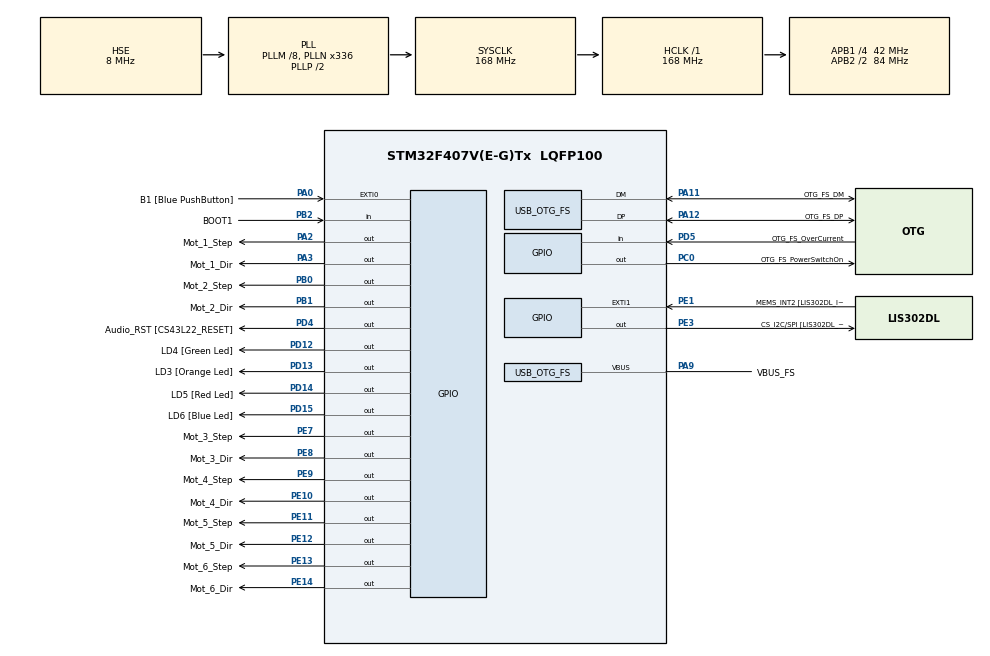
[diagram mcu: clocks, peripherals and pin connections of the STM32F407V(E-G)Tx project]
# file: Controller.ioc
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Mcu.Family=STM32F4
Mcu.Name=STM32F407V(E-G)Tx
Mcu.Package=LQFP100
NVIC.OTG_FS_IRQn=true\:0\:0\:false\:false\:true\:true
NVIC.PriorityGroup=NVIC_PRIORITYGROUP_4
NVIC.TIM6_DAC_IRQn=true\:0\:0\:false\:false\:true\:true
PA0-WKUP.GPIO_Label=B1 [Blue PushButton]
PA0-WKUP.GPIO_ModeDefaultEXTI=GPIO_MODE_EVT_RISING
PA0-WKUP.GPIO_PuPd=GPIO_NOPULL
PA0-WKUP.Signal=GPXTI0
PA10.GPIO_Label=OTG_FS_ID
PA10.GPIO_Mode=GPIO_MODE_AF_PP
PA10.GPIO_PuPd=GPIO_NOPULL
PA10.GPIO_Speed=GPIO_SPEED_FREQ_LOW
PA10.Signal=USB_OTG_FS_ID
PA11.GPIO_Label=OTG_FS_DM
PA11.GPIO_Mode=GPIO_MODE_AF_PP
PA11.GPIO_PuPd=GPIO_NOPULL
PA11.GPIO_Speed=GPIO_SPEED_FREQ_LOW
PA11.Mode=Device_Only
PA11.Signal=USB_OTG_FS_DM
PA12.GPIO_Label=OTG_FS_DP
PA12.GPIO_Mode=GPIO_MODE_AF_PP
PA12.GPIO_PuPd=GPIO_NOPULL
PA12.GPIO_Speed=GPIO_SPEED_FREQ_LOW
PA12.Mode=Device_Only
PA12.Signal=USB_OTG_FS_DP
PA13.GPIO_Label=SWDIO
PA13.Mode=Serial_Wire
PA13.Signal=SYS_JTMS-SWDIO
PA14.GPIO_Label=SWCLK
PA14.Mode=Serial_Wire
PA14.Signal=SYS_JTCK-SWCLK
PA2.GPIO_Label=Mot_1_Step
PA2.Signal=GPIO_Output
PA3.GPIO_Label=Mot_1_Dir
PA3.Signal=GPIO_Output
PA4.GPIO_Label=I2S3_WS [CS43L22_LRCK]
PA4.GPIO_Mode=GPIO_MODE_AF_PP
PA4.GPIO_PuPd=GPIO_NOPULL
PA4.GPIO_Speed=GPIO_SPEED_FREQ_LOW
PA4.Signal=I2S3_WS
PA5.GPIO_Label=SPI1_SCK [LIS302DL_SCL/SPC]
PA5.GPIO_Mode=GPIO_MODE_AF_PP
PA5.GPIO_PuPd=GPIO_NOPULL
PA5.GPIO_Speed=GPIO_SPEED_FREQ_LOW
PA5.Signal=SPI1_SCK
PA6.GPIO_Label=SPI1_MISO [LIS302DL_SDO]
PA6.GPIO_Mode=GPIO_MODE_AF_PP
PA6.GPIO_PuPd=GPIO_NOPULL
PA6.GPIO_Speed=GPIO_SPEED_FREQ_LOW
PA6.Signal=SPI1_MISO
PA7.GPIO_Label=SPI1_MOSI [LIS302DL_SDA/SDI/SDO]
PA7.GPIO_Mode=GPIO_MODE_AF_PP
PA7.GPIO_PuPd=GPIO_NOPULL
PA7.GPIO_Speed=GPIO_SPEED_FREQ_LOW
PA7.Signal=SPI1_MOSI
PA9.GPIO_Label=VBUS_FS
PA9.GPIO_Mode=GPIO_MODE_INPUT
PA9.GPIO_PuPd=GPIO_NOPULL
PA9.Mode=Activate_VBUS
PA9.Signal=USB_OTG_FS_VBUS
PB0.GPIO_Label=Mot_2_Step
PB0.Signal=GPIO_Output
PB1.GPIO_Label=Mot_2_Dir
PB1.Signal=GPIO_Output
PB10.GPIO_Label=CLK_IN [MP45DT02_CLK]
PB10.GPIO_Mode=GPIO_MODE_AF_PP
PB10.GPIO_PuPd=GPIO_NOPULL
PB10.GPIO_Speed=GPIO_SPEED_FREQ_LOW
PB10.Signal=I2S2_CK
PB2.GPIO_Label=BOOT1
PB2.GPIO_Mode=GPIO_MODE_INPUT
PB2.GPIO_PuPd=GPIO_NOPULL
PB2.Signal=GPIO_Input
PB3.GPIO_Label=SWO
PB3.Signal=SYS_JTDO-SWO
PB6.GPIO_Label=Audio_SCL [CS43L22_SCL]
PB6.GPIO_Mode=GPIO_MODE_AF_OD
PB6.GPIO_PuPd=GPIO_NOPULL
PB6.GPIO_Speed=GPIO_SPEED_FREQ_LOW
PB6.Signal=I2C1_SCL
PB9.GPIO_Label=Audio_SDA [CS43L22_SDA]
PB9.GPIO_Mode=GPIO_MODE_AF_OD
PB9.GPIO_PuPd=GPIO_NOPULL
PB9.GPIO_Speed=GPIO_SPEED_FREQ_LOW
PB9.Signal=I2C1_SDA
PC0.GPIO_Label=OTG_FS_PowerSwitchOn
PC0.GPIO_PuPd=GPIO_NOPULL
PC0.GPIO_Speed=GPIO_SPEED_FREQ_LOW
PC0.PinState=GPIO_PIN_SET
PC0.Signal=GPIO_Output
PC10.GPIO_Label=I2S3_SCK [CS43L22_SCLK]
PC10.GPIO_Mode=GPIO_MODE_AF_PP
PC10.GPIO_PuPd=GPIO_NOPULL
PC10.GPIO_Speed=GPIO_SPEED_FREQ_LOW
PC10.Signal=I2S3_CK
PC12.GPIO_Label=I2S3_SD [CS43L22_SDIN]
PC12.GPIO_Mode=GPIO_MODE_AF_PP
PC12.GPIO_PuPd=GPIO_NOPULL
PC12.GPIO_Speed=GPIO_SPEED_FREQ_LOW
PC12.Signal=I2S3_SD
PC14-OSC32_IN.GPIO_Label=PC14-OSC32_IN
PC14-OSC32_IN.Mode=LSE-External-Oscillator
PC14-OSC32_IN.Signal=RCC_OSC32_IN
PC15-OSC32_OUT.GPIO_Label=PC15-OSC32_OUT
PC15-OSC32_OUT.Mode=LSE-External-Oscillator
PC15-OSC32_OUT.Signal=RCC_OSC32_OUT
PC3.GPIO_Label=PDM_OUT [MP45DT02_DOUT]
PC3.GPIO_Mode=GPIO_MODE_AF_PP
PC3.GPIO_PuPd=GPIO_NOPULL
PC3.GPIO_Speed=GPIO_SPEED_FREQ_LOW
PC3.Signal=I2S2_SD
PC7.GPIO_Label=I2S3_MCK [CS43L22_MCLK]
PC7.GPIO_Mode=GPIO_MODE_AF_PP
PC7.GPIO_PuPd=GPIO_NOPULL
PC7.GPIO_Speed=GPIO_SPEED_FREQ_LOW
PC7.Signal=I2S3_MCK
PD12.GPIO_Label=LD4 [Green Led]
PD12.GPIO_PuPd=GPIO_NOPULL
PD12.GPIO_Speed=GPIO_SPEED_FREQ_LOW
PD12.Signal=GPIO_Output
PD13.GPIO_Label=LD3 [Orange Led]
PD13.GPIO_PuPd=GPIO_NOPULL
PD13.GPIO_Speed=GPIO_SPEED_FREQ_LOW
PD13.Signal=GPIO_Output
PD14.GPIO_Label=LD5 [Red Led]
PD14.GPIO_PuPd=GPIO_NOPULL
PD14.GPIO_Speed=GPIO_SPEED_FREQ_LOW
PD14.Signal=GPIO_Output
PD15.GPIO_Label=LD6 [Blue Led]
PD15.GPIO_PuPd=GPIO_NOPULL
PD15.GPIO_Speed=GPIO_SPEED_FREQ_LOW
PD15.Signal=GPIO_Output
PD4.GPIO_Label=Audio_RST [CS43L22_RESET]
PD4.GPIO_PuPd=GPIO_NOPULL
PD4.GPIO_Speed=GPIO_SPEED_FREQ_LOW
PD4.Signal=GPIO_Output
PD5.GPIO_Label=OTG_FS_OverCurrent
PD5.GPIO_Mode=GPIO_MODE_INPUT
PD5.GPIO_PuPd=GPIO_NOPULL
PD5.Signal=GPIO_Input
PE1.GPIO_Label=MEMS_INT2 [LIS302DL_INT2]
PE1.GPIO_ModeDefaultEXTI=GPIO_MODE_EVT_RISING
PE1.GPIO_PuPd=GPIO_NOPULL
PE1.Signal=GPXTI1
PE10.GPIO_Label=Mot_4_Dir
PE10.Signal=GPIO_Output
PE11.GPIO_Label=Mot_5_Step
PE11.Signal=GPIO_Output
PE12.GPIO_Label=Mot_5_Dir
PE12.Signal=GPIO_Output
PE13.GPIO_Label=Mot_6_Step
PE13.Signal=GPIO_Output
PE14.GPIO_Label=Mot_6_Dir
PE14.Signal=GPIO_Output
PE3.GPIO_Label=CS_I2C/SPI [LIS302DL_CS_I2C/SPI]
PE3.GPIO_PuPd=GPIO_NOPULL
PE3.GPIO_Speed=GPIO_SPEED_FREQ_LOW
PE3.Signal=GPIO_Output
PE7.GPIO_Label=Mot_3_Step
PE7.Signal=GPIO_Output
PE8.GPIO_Label=Mot_3_Dir
PE8.Signal=GPIO_Output
PE9.GPIO_Label=Mot_4_Step
PE9.Signal=GPIO_Output
PH0-OSC_IN.GPIO_Label=PH0-OSC_IN
PH0-OSC_IN.Mode=HSE-External-Oscillator
PH0-OSC_IN.Signal=RCC_OSC_IN
PH1-OSC_OUT.GPIO_Label=PH1-OSC_OUT
PH1-OSC_OUT.Mode=HSE-External-Oscillator
PH1-OSC_OUT.Signal=RCC_OSC_OUT
ProjectManager.HeapSize=0x800
ProjectManager.StackSize=0x1600
ProjectManager.TargetToolchain=TrueSTUDIO
RCC.48MHZClocksFreq_Value=48000000
RCC.AHBFreq_Value=168000000
RCC.APB1CLKDivider=RCC_HCLK_DIV4
RCC.APB1Freq_Value=42000000
RCC.APB1TimFreq_Value=84000000
RCC.APB2CLKDivider=RCC_HCLK_DIV2
RCC.APB2Freq_Value=84000000
RCC.APB2TimFreq_Value=168000000
RCC.CortexFreq_Value=168000000
RCC.HCLKFreq_Value=168000000
RCC.HSE_VALUE=8000000
RCC.HSI_VALUE=16000000
RCC.PLLM=8
RCC.PLLN=336
RCC.PLLQ=7
RCC.SYSCLKFreq_VALUE=168000000
RCC.SYSCLKSource=RCC_SYSCLKSOURCE_PLLCLK
RCC.VCOOutputFreq_Value=336000000
TIM6.Period=10
TIM6.Prescaler=84-1
TIM6.TIM_MasterOutputTrigger=TIM_TRGO_RESET
USB_DEVICE.CLASS_NAME_FS=CDC
USB_DEVICE.VirtualMode-CDC_FS=Cdc
USB_DEVICE.VirtualModeFS=Cdc_FS
USB_OTG_FS.VirtualMode=Device_Only
VP_TIM6_VS_ClockSourceINT.Mode=Enable_Timer
VP_USB_DEVICE_VS_USB_DEVICE_CDC_FS.Mode=CDC_FS
board=STM32F4DISCOVERY

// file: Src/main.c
/**
 * Stewart Platform Microcontroller Code
 * Author: Liam Clark
 * 21 October, 2018
 */

/**
  * This notice applies to any and all portions of this file
  * that are not between comment pairs USER CODE BEGIN and
  * USER CODE END. Other portions of this file, whether
  * inserted by the user or by software development tools
  * are owned by their respective copyright owners.
  *
  * Copyright (c) 2018 STMicroelectronics International N.V.
  * All rights reserved.
  *
  * Redistribution and use in source and binary forms, with or without
  * modification, are permitted, provided that the following conditions are met:
  *
  * 1. Redistribution of source code must retain the above copyright notice,
  *    this list of conditions and the following disclaimer.
  * 2. Redistributions in binary form must reproduce the above copyright notice,
  *    this list of conditions and the following disclaimer in the documentation
  *    and/or other materials provided with the distribution.
  * 3. Neither the name of STMicroelectronics nor the names of other
  *    contributors to this software may be used to endorse or promote products
  *    derived from this software without specific written permission.
  * 4. This software, including modifications and/or derivative works of this
  *    software, must execute solely and exclusively on microcontroller or
  *    microprocessor devices manufactured by or for STMicroelectronics.
  * 5. Redistribution and use of this software other than as permitted under
  *    this license is void and will automatically terminate your rights under
  *    this license.
  *
  * THIS SOFTWARE IS PROVIDED BY STMICROELECTRONICS AND CONTRIBUTORS "AS IS"
  * AND ANY EXPRESS, IMPLIED OR STATUTORY WARRANTIES, INCLUDING, BUT NOT
  * LIMITED TO, THE IMPLIED WARRANTIES OF MERCHANTABILITY, FITNESS FOR A
  * PARTICULAR PURPOSE AND NON-INFRINGEMENT OF THIRD PARTY INTELLECTUAL PROPERTY
  * RIGHTS ARE DISCLAIMED TO THE FULLEST EXTENT PERMITTED BY LAW. IN NO EVENT
  * SHALL STMICROELECTRONICS OR CONTRIBUTORS BE LIABLE FOR ANY DIRECT, INDIRECT,
  * INCIDENTAL, SPECIAL, EXEMPLARY, OR CONSEQUENTIAL DAMAGES (INCLUDING, BUT NOT
  * LIMITED TO, PROCUREMENT OF SUBSTITUTE GOODS OR SERVICES; LOSS OF USE, DATA,
  * OR PROFITS; OR BUSINESS INTERRUPTION) HOWEVER CAUSED AND ON ANY THEORY OF
  * LIABILITY, WHETHER IN CONTRACT, STRICT LIABILITY, OR TORT (INCLUDING
  * NEGLIGENCE OR OTHERWISE) ARISING IN ANY WAY OUT OF THE USE OF THIS SOFTWARE,
  * EVEN IF ADVISED OF THE POSSIBILITY OF SUCH DAMAGE.
  *
  ******************************************************************************
  */

#include "main.h"
#include "stm32f4xx_hal.h"
#include "usb_device.h"

/* USER CODE BEGIN Includes */
#include "usbd_cdc_if.h"
#include <string.h>
#include <math.h>
#include <stdio.h>
/* USER CODE END Includes */

TIM_HandleTypeDef htim6;

/* USER CODE BEGIN PV */
/* Private variables ---------------------------------------------------------*/
const char *delim = " ";
uint32_t movPeriod = 1;
uint32_t currMov = 1;

/* USER CODE END PV */

void SystemClock_Config(void);
static void MX_GPIO_Init(void);
static void MX_TIM6_Init(void);

/* USER CODE BEGIN PFP */
/* Private function prototypes -----------------------------------------------*/
void Step(uint8_t mot, uint8_t dir);
/* USER CODE END PFP */

/* USER CODE BEGIN 0 */
//Define Types
typedef struct Motor {
	uint16_t dirPin;
	GPIO_TypeDef * dirPinPort;
	uint16_t stepPin;
	GPIO_TypeDef * stepPinPort;
	int32_t pos;
} Motor;

typedef struct MotorController {
	uint32_t deltaPos;
	GPIO_PinState direction;
	int32_t accErr;
	int32_t targetPos;
} MotorController;

#define MOT_DIR_POS GPIO_PIN_SET
#define MOT_DIR_NEG GPIO_PIN_RESET

//Allocate memory for Motor and MotorController Structs
Motor motors[6];
MotorController controllers[6];

/* USER CODE END 0 */

int main(void)
{
  /* USER CODE BEGIN 1 */
	//Initialise all motor structs
	motors[0].dirPin = Mot_1_Dir_Pin;
	motors[0].dirPinPort = Mot_1_Dir_GPIO_Port;
	motors[0].stepPin = Mot_1_Step_Pin;
	motors[0].stepPinPort = Mot_1_Step_GPIO_Port;
	motors[0].pos = 0;

	motors[1].dirPin = Mot_2_Dir_Pin;
	motors[1].dirPinPort = Mot_2_Dir_GPIO_Port;
	motors[1].stepPin = Mot_2_Step_Pin;
	motors[1].stepPinPort = Mot_2_Step_GPIO_Port;
	motors[1].pos = 0;

	motors[2].dirPin = Mot_3_Dir_Pin;
	motors[2].dirPinPort = Mot_3_Dir_GPIO_Port;
	motors[2].stepPin = Mot_3_Step_Pin;
	motors[2].stepPinPort = Mot_3_Step_GPIO_Port;
	motors[2].pos = 0;

	motors[3].dirPin = Mot_4_Dir_Pin;
	motors[3].dirPinPort = Mot_4_Dir_GPIO_Port;
	motors[3].stepPin = Mot_4_Step_Pin;
	motors[3].stepPinPort = Mot_4_Step_GPIO_Port;
	motors[3].pos = 0;

	motors[4].dirPin = Mot_5_Dir_Pin;
	motors[4].dirPinPort = Mot_5_Dir_GPIO_Port;
	motors[4].stepPin = Mot_5_Step_Pin;
	motors[4].stepPinPort = Mot_5_Step_GPIO_Port;
	motors[4].pos = 0;

	motors[5].dirPin = Mot_6_Dir_Pin;
	motors[5].dirPinPort = Mot_6_Dir_GPIO_Port;
	motors[5].stepPin = Mot_6_Step_Pin;
	motors[5].stepPinPort = Mot_6_Step_GPIO_Port;
	motors[5].pos = 0;

	//Initialise all controller structs
	controllers[0].accErr = 0;
	controllers[0].deltaPos = 0;
	controllers[0].direction = MOT_DIR_POS;
	controllers[0].targetPos = 0;

	controllers[1].accErr = 0;
	controllers[1].deltaPos = 0;
	controllers[1].direction = MOT_DIR_NEG;
	controllers[1].targetPos = 0;

	controllers[2].accErr = 0;
	controllers[2].deltaPos = 0;
	controllers[2].direction = MOT_DIR_POS;
	controllers[2].targetPos = 0;

	controllers[3].accErr = 0;
	controllers[3].deltaPos = 0;
	controllers[3].direction = MOT_DIR_NEG;
	controllers[3].targetPos = 0;

	controllers[4].accErr = 0;
	controllers[4].deltaPos = 0;
	controllers[4].direction = MOT_DIR_POS;
	controllers[4].targetPos = 0;

	controllers[5].accErr = 0;
	controllers[5].deltaPos = 0;
	controllers[5].direction = MOT_DIR_NEG;
	controllers[5].targetPos = 0;

  /* USER CODE END 1 */

  /* MCU Configuration----------------------------------------------------------*/

  /* Reset of all peripherals, Initializes the Flash interface and the Systick. */
  HAL_Init();

  /* Configure the system clock */
  SystemClock_Config();

  /* Initialize all configured peripherals */
  MX_GPIO_Init();
  MX_USB_DEVICE_Init();
  MX_TIM6_Init();
  /* USER CODE BEGIN 2 */
	HAL_TIM_Base_Start_IT(&htim6); //start the interrupts
  /* USER CODE END 2 */

  /* Infinite loop */
	while (1) {

	}

}

void SystemClock_Config(void)
{

  RCC_OscInitTypeDef RCC_OscInitStruct;
  RCC_ClkInitTypeDef RCC_ClkInitStruct;

    /**Configure the main internal regulator output voltage
    */
  __HAL_RCC_PWR_CLK_ENABLE();

  __HAL_PWR_VOLTAGESCALING_CONFIG(PWR_REGULATOR_VOLTAGE_SCALE1);

    /**Initializes the CPU, AHB and APB busses clocks
    */
  RCC_OscInitStruct.OscillatorType = RCC_OSCILLATORTYPE_HSE;
  RCC_OscInitStruct.HSEState = RCC_HSE_ON;
  RCC_OscInitStruct.PLL.PLLState = RCC_PLL_ON;
  RCC_OscInitStruct.PLL.PLLSource = RCC_PLLSOURCE_HSE;
  RCC_OscInitStruct.PLL.PLLM = 8;
  RCC_OscInitStruct.PLL.PLLN = 336;
  RCC_OscInitStruct.PLL.PLLP = RCC_PLLP_DIV2;
  RCC_OscInitStruct.PLL.PLLQ = 7;
  if (HAL_RCC_OscConfig(&RCC_OscInitStruct) != HAL_OK)
  {
    _Error_Handler(__FILE__, __LINE__);
  }

    /**Initializes the CPU, AHB and APB busses clocks
    */
  RCC_ClkInitStruct.ClockType = RCC_CLOCKTYPE_HCLK|RCC_CLOCKTYPE_SYSCLK
                              |RCC_CLOCKTYPE_PCLK1|RCC_CLOCKTYPE_PCLK2;
  RCC_ClkInitStruct.SYSCLKSource = RCC_SYSCLKSOURCE_PLLCLK;
  RCC_ClkInitStruct.AHBCLKDivider = RCC_SYSCLK_DIV1;
  RCC_ClkInitStruct.APB1CLKDivider = RCC_HCLK_DIV4;
  RCC_ClkInitStruct.APB2CLKDivider = RCC_HCLK_DIV2;

  if (HAL_RCC_ClockConfig(&RCC_ClkInitStruct, FLASH_LATENCY_5) != HAL_OK)
  {
    _Error_Handler(__FILE__, __LINE__);
  }

    /**Configure the Systick interrupt time
    */
  HAL_SYSTICK_Config(HAL_RCC_GetHCLKFreq()/1000);

    /**Configure the Systick
    */
  HAL_SYSTICK_CLKSourceConfig(SYSTICK_CLKSOURCE_HCLK);

  /* SysTick_IRQn interrupt configuration */
  HAL_NVIC_SetPriority(SysTick_IRQn, 0, 0);
}

/* TIM6 init function */
static void MX_TIM6_Init(void)
{

  TIM_MasterConfigTypeDef sMasterConfig;

  htim6.Instance = TIM6;
  htim6.Init.Prescaler = 84-1;
  htim6.Init.CounterMode = TIM_COUNTERMODE_UP;
  htim6.Init.Period = 10;
  if (HAL_TIM_Base_Init(&htim6) != HAL_OK)
  {
    _Error_Handler(__FILE__, __LINE__);
  }

  sMasterConfig.MasterOutputTrigger = TIM_TRGO_RESET;
  sMasterConfig.MasterSlaveMode = TIM_MASTERSLAVEMODE_DISABLE;
  if (HAL_TIMEx_MasterConfigSynchronization(&htim6, &sMasterConfig) != HAL_OK)
  {
    _Error_Handler(__FILE__, __LINE__);
  }

}

/** Configure pins as
        * Analog
        * Input
        * Output
        * EVENT_OUT
        * EXTI
     PC3   ------> I2S2_SD
     PA4   ------> I2S3_WS
     PA5   ------> SPI1_SCK
     PA6   ------> SPI1_MISO
     PA7   ------> SPI1_MOSI
     PB10   ------> I2S2_CK
     PC7   ------> I2S3_MCK
     PC10   ------> I2S3_CK
     PC12   ------> I2S3_SD
     PB6   ------> I2C1_SCL
     PB9   ------> I2C1_SDA
*/
static void MX_GPIO_Init(void)
{

  GPIO_InitTypeDef GPIO_InitStruct;

  /* GPIO Ports Clock Enable */
  __HAL_RCC_GPIOE_CLK_ENABLE();
  __HAL_RCC_GPIOC_CLK_ENABLE();
  __HAL_RCC_GPIOH_CLK_ENABLE();
  __HAL_RCC_GPIOA_CLK_ENABLE();
  __HAL_RCC_GPIOB_CLK_ENABLE();
  __HAL_RCC_GPIOD_CLK_ENABLE();

  /*Configure GPIO pin Output Level */
  HAL_GPIO_WritePin(GPIOE, CS_I2C_SPI_Pin|Mot_3_Step_Pin|Mot_3_Dir_Pin|Mot_4_Step_Pin
                          |Mot_4_Dir_Pin|Mot_5_Step_Pin|Mot_5_Dir_Pin|Mot_6_Step_Pin
                          |Mot_6_Dir_Pin, GPIO_PIN_RESET);

  /*Configure GPIO pin Output Level */
  HAL_GPIO_WritePin(OTG_FS_PowerSwitchOn_GPIO_Port, OTG_FS_PowerSwitchOn_Pin, GPIO_PIN_SET);

  /*Configure GPIO pin Output Level */
  HAL_GPIO_WritePin(GPIOA, Mot_1_Step_Pin|Mot_1_Dir_Pin, GPIO_PIN_RESET);

  /*Configure GPIO pin Output Level */
  HAL_GPIO_WritePin(GPIOB, Mot_2_Step_Pin|Mot_2_Dir_Pin, GPIO_PIN_RESET);

  /*Configure GPIO pin Output Level */
  HAL_GPIO_WritePin(GPIOD, LD4_Pin|LD3_Pin|LD5_Pin|LD6_Pin
                          |Audio_RST_Pin, GPIO_PIN_RESET);

  /*Configure GPIO pins : CS_I2C_SPI_Pin Mot_3_Step_Pin Mot_3_Dir_Pin Mot_4_Step_Pin
                           Mot_4_Dir_Pin Mot_5_Step_Pin Mot_5_Dir_Pin Mot_6_Step_Pin
                           Mot_6_Dir_Pin */
  GPIO_InitStruct.Pin = CS_I2C_SPI_Pin|Mot_3_Step_Pin|Mot_3_Dir_Pin|Mot_4_Step_Pin
                          |Mot_4_Dir_Pin|Mot_5_Step_Pin|Mot_5_Dir_Pin|Mot_6_Step_Pin
                          |Mot_6_Dir_Pin;
  GPIO_InitStruct.Mode = GPIO_MODE_OUTPUT_PP;
  GPIO_InitStruct.Pull = GPIO_NOPULL;
  GPIO_InitStruct.Speed = GPIO_SPEED_FREQ_LOW;
  HAL_GPIO_Init(GPIOE, &GPIO_InitStruct);

  /*Configure GPIO pin : OTG_FS_PowerSwitchOn_Pin */
  GPIO_InitStruct.Pin = OTG_FS_PowerSwitchOn_Pin;
  GPIO_InitStruct.Mode = GPIO_MODE_OUTPUT_PP;
  GPIO_InitStruct.Pull = GPIO_NOPULL;
  GPIO_InitStruct.Speed = GPIO_SPEED_FREQ_LOW;
  HAL_GPIO_Init(OTG_FS_PowerSwitchOn_GPIO_Port, &GPIO_InitStruct);

  /*Configure GPIO pin : PDM_OUT_Pin */
  GPIO_InitStruct.Pin = PDM_OUT_Pin;
  GPIO_InitStruct.Mode = GPIO_MODE_AF_PP;
  GPIO_InitStruct.Pull = GPIO_NOPULL;
  GPIO_InitStruct.Speed = GPIO_SPEED_FREQ_LOW;
  GPIO_InitStruct.Alternate = GPIO_AF5_SPI2;
  HAL_GPIO_Init(PDM_OUT_GPIO_Port, &GPIO_InitStruct);

  /*Configure GPIO pin : B1_Pin */
  GPIO_InitStruct.Pin = B1_Pin;
  GPIO_InitStruct.Mode = GPIO_MODE_EVT_RISING;
  GPIO_InitStruct.Pull = GPIO_NOPULL;
  HAL_GPIO_Init(B1_GPIO_Port, &GPIO_InitStruct);

  /*Configure GPIO pins : Mot_1_Step_Pin Mot_1_Dir_Pin */
  GPIO_InitStruct.Pin = Mot_1_Step_Pin|Mot_1_Dir_Pin;
  GPIO_InitStruct.Mode = GPIO_MODE_OUTPUT_PP;
  GPIO_InitStruct.Pull = GPIO_NOPULL;
  GPIO_InitStruct.Speed = GPIO_SPEED_FREQ_LOW;
  HAL_GPIO_Init(GPIOA, &GPIO_InitStruct);

  /*Configure GPIO pin : I2S3_WS_Pin */
  GPIO_InitStruct.Pin = I2S3_WS_Pin;
  GPIO_InitStruct.Mode = GPIO_MODE_AF_PP;
  GPIO_InitStruct.Pull = GPIO_NOPULL;
  GPIO_InitStruct.Speed = GPIO_SPEED_FREQ_LOW;
  GPIO_InitStruct.Alternate = GPIO_AF6_SPI3;
  HAL_GPIO_Init(I2S3_WS_GPIO_Port, &GPIO_InitStruct);

  /*Configure GPIO pins : SPI1_SCK_Pin SPI1_MISO_Pin SPI1_MOSI_Pin */
  GPIO_InitStruct.Pin = SPI1_SCK_Pin|SPI1_MISO_Pin|SPI1_MOSI_Pin;
  GPIO_InitStruct.Mode = GPIO_MODE_AF_PP;
  GPIO_InitStruct.Pull = GPIO_NOPULL;
  GPIO_InitStruct.Speed = GPIO_SPEED_FREQ_LOW;
  GPIO_InitStruct.Alternate = GPIO_AF5_SPI1;
  HAL_GPIO_Init(GPIOA, &GPIO_InitStruct);

  /*Configure GPIO pins : Mot_2_Step_Pin Mot_2_Dir_Pin */
  GPIO_InitStruct.Pin = Mot_2_Step_Pin|Mot_2_Dir_Pin;
  GPIO_InitStruct.Mode = GPIO_MODE_OUTPUT_PP;
  GPIO_InitStruct.Pull = GPIO_NOPULL;
  GPIO_InitStruct.Speed = GPIO_SPEED_FREQ_LOW;
  HAL_GPIO_Init(GPIOB, &GPIO_InitStruct);

  /*Configure GPIO pin : BOOT1_Pin */
  GPIO_InitStruct.Pin = BOOT1_Pin;
  GPIO_InitStruct.Mode = GPIO_MODE_INPUT;
  GPIO_InitStruct.Pull = GPIO_NOPULL;
  HAL_GPIO_Init(BOOT1_GPIO_Port, &GPIO_InitStruct);

  /*Configure GPIO pin : CLK_IN_Pin */
  GPIO_InitStruct.Pin = CLK_IN_Pin;
  GPIO_InitStruct.Mode = GPIO_MODE_AF_PP;
  GPIO_InitStruct.Pull = GPIO_NOPULL;
  GPIO_InitStruct.Speed = GPIO_SPEED_FREQ_LOW;
  GPIO_InitStruct.Alternate = GPIO_AF5_SPI2;
  HAL_GPIO_Init(CLK_IN_GPIO_Port, &GPIO_InitStruct);

  /*Configure GPIO pins : LD4_Pin LD3_Pin LD5_Pin LD6_Pin
                           Audio_RST_Pin */
  GPIO_InitStruct.Pin = LD4_Pin|LD3_Pin|LD5_Pin|LD6_Pin
                          |Audio_RST_Pin;
  GPIO_InitStruct.Mode = GPIO_MODE_OUTPUT_PP;
  GPIO_InitStruct.Pull = GPIO_NOPULL;
  GPIO_InitStruct.Speed = GPIO_SPEED_FREQ_LOW;
  HAL_GPIO_Init(GPIOD, &GPIO_InitStruct);

  /*Configure GPIO pins : I2S3_MCK_Pin I2S3_SCK_Pin I2S3_SD_Pin */
  GPIO_InitStruct.Pin = I2S3_MCK_Pin|I2S3_SCK_Pin|I2S3_SD_Pin;
  GPIO_InitStruct.Mode = GPIO_MODE_AF_PP;
  GPIO_InitStruct.Pull = GPIO_NOPULL;
  GPIO_InitStruct.Speed = GPIO_SPEED_FREQ_LOW;
  GPIO_InitStruct.Alternate = GPIO_AF6_SPI3;
  HAL_GPIO_Init(GPIOC, &GPIO_InitStruct);

  /*Configure GPIO pin : OTG_FS_OverCurrent_Pin */
  GPIO_InitStruct.Pin = OTG_FS_OverCurrent_Pin;
  GPIO_InitStruct.Mode = GPIO_MODE_INPUT;
  GPIO_InitStruct.Pull = GPIO_NOPULL;
  HAL_GPIO_Init(OTG_FS_OverCurrent_GPIO_Port, &GPIO_InitStruct);

  /*Configure GPIO pins : Audio_SCL_Pin Audio_SDA_Pin */
  GPIO_InitStruct.Pin = Audio_SCL_Pin|Audio_SDA_Pin;
  GPIO_InitStruct.Mode = GPIO_MODE_AF_OD;
  GPIO_InitStruct.Pull = GPIO_PULLUP;
  GPIO_InitStruct.Speed = GPIO_SPEED_FREQ_LOW;
  GPIO_InitStruct.Alternate = GPIO_AF4_I2C1;
  HAL_GPIO_Init(GPIOB, &GPIO_InitStruct);

  /*Configure GPIO pin : MEMS_INT2_Pin */
  GPIO_InitStruct.Pin = MEMS_INT2_Pin;
  GPIO_InitStruct.Mode = GPIO_MODE_EVT_RISING;
  GPIO_InitStruct.Pull = GPIO_NOPULL;
  HAL_GPIO_Init(MEMS_INT2_GPIO_Port, &GPIO_InitStruct);

}

/* USER CODE BEGIN 4 */

void Step(uint8_t mot, GPIO_PinState dir) {
	HAL_GPIO_WritePin(motors[mot].dirPinPort, motors[mot].dirPin, dir); //set direction
	HAL_GPIO_TogglePin(motors[mot].stepPinPort, motors[mot].stepPin);
	if (dir == MOT_DIR_POS) {
		motors[mot].pos++;
	} else {
		motors[mot].pos--;
	}
}

/* Timer Interrupt Callback Handler */
void HAL_TIM_PeriodElapsedCallback(TIM_HandleTypeDef *htim) {
	if (htim->Instance == TIM6) {
		if (currMov < movPeriod) {
			for (uint8_t mot = 0; mot < 6; ++mot) {
				if (controllers[mot].accErr > 0) {
					Step(mot, controllers[mot].direction);
					controllers[mot].accErr -= 2 * movPeriod;
				}
				controllers[mot].accErr += 2 * controllers[mot].deltaPos;
			}
			currMov++;
		}
	}

}

/* Receive USB Virtual COM Port Message */
void CDC_ReceiveCallback(uint8_t *Buf, uint32_t Len) {

	char *ptr;
	/* Move - extracts a movement command defining the position for
	 * motors to move to and the time taken to reach this position */
	if (strncmp((char*) Buf, "m", 1) == 0) {
		//Extract Move Command Info
		ptr = (char*) Buf + 1;
		movPeriod = round(100000 * strtof(ptr, &ptr));
		for (uint8_t mot = 0; mot < 6; ++mot) {
			controllers[mot].targetPos = 2 * strtoul(ptr, &ptr, 10);
			int16_t delta = controllers[mot].targetPos - motors[mot].pos;
			controllers[mot].deltaPos = abs(delta);
			if (delta >= 0) {
				controllers[mot].direction = MOT_DIR_POS;
			} else {
				controllers[mot].direction = MOT_DIR_NEG;
			}
			controllers[mot].accErr = 2 * controllers[mot].deltaPos - movPeriod;
		}
		currMov = 0;
		//CDC_Transmit_FS(Buf, Len);
	}
	/* Reset - sets the current actuator positions to a zero position */
	else if (strncmp((char*) Buf, "r", 1) == 0) {
		//Extract Move Command Info
		movPeriod = 0;
		for (uint8_t mot = 0; mot < 6; ++mot) {
			controllers[mot].targetPos = 0;
			controllers[mot].deltaPos = 0;
			controllers[mot].direction = MOT_DIR_POS;
			controllers[mot].accErr = 0;
			motors[mot].pos = 0;
		}
		currMov = 0;
		//CDC_Transmit_FS(Buf, Len);
	}
	/* Status - return actuator positions over the serial connection */
	else if (strncmp((char*) Buf, "s", 1) == 0){
		char statStr[100];
		uint16_t statLen;
		statLen = (uint16_t) sprintf(statStr, "M1: %ld, M2: %ld, M3: %ld, M4: %ld, M5: %ld, M6: %ld \r\n", motors[0].pos,
				motors[1].pos, motors[2].pos, motors[3].pos, motors[4].pos, motors[5].pos);
		CDC_Transmit_FS((uint8_t *)statStr, statLen);
	}
}

/* USER CODE END 4 */

void _Error_Handler(char *file, int line)
{
	while (1) {
	}
}

/************************ (C) COPYRIGHT STMicroelectronics *****END OF FILE****/
